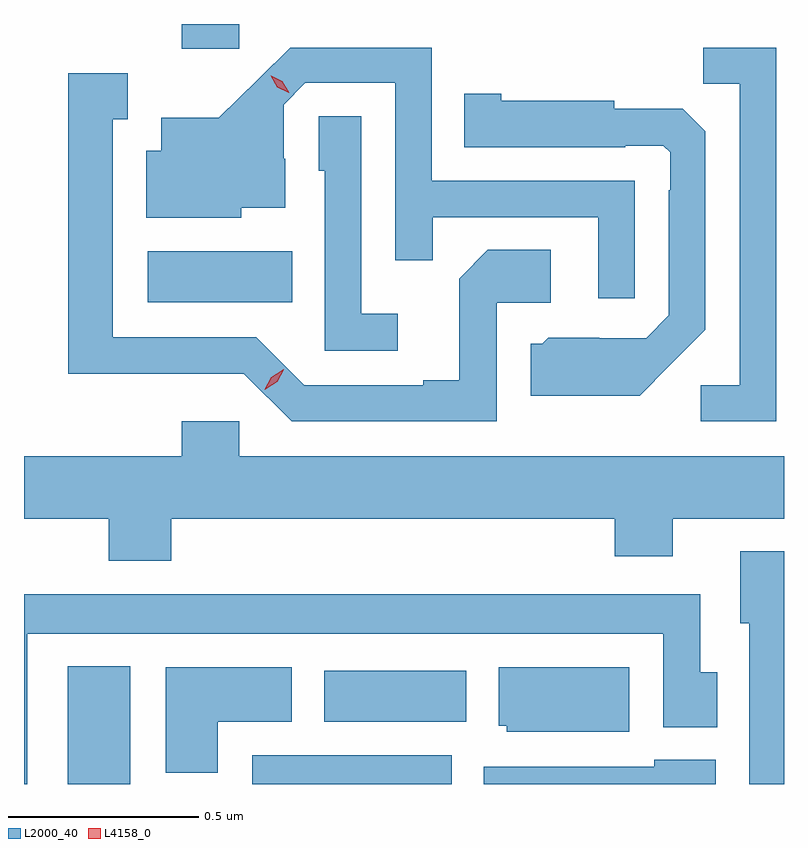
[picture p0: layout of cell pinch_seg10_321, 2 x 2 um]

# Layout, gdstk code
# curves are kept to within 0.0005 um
import gdstk
lib = gdstk.Library(unit=1e-6, precision=1e-09)
def R(c, l, rs):  # rectangles x0, y0, x1, y1
    for r in rs: c.add(gdstk.rectangle(r[:2], r[2:], *l))
def P(c, l, *ps):  # polygons
    for p in ps: c.add(gdstk.Polygon(p, *l))
L2000_40 = (2000, 40)
L4158_0 = (4158, 0)

pinch_seg10_321 = lib.new_cell('pinch_seg10_321')
R(pinch_seg10_321, L2000_40, [(414.443,1298.286,414.607,1298.596), (414.929,1298.286,415.453,1298.362), (415.118,1298.45,415.492,1298.584), (414.654,1299.554,415.034,1299.688), (414.743,1300.221,414.894,1300.286)])
P(pinch_seg10_321, L2000_40, [(415.935,1299.873),(415.401,1299.873),(415.401,1300.224),(415.028,1300.224),(414.841,1300.039),(414.689,1300.039),(414.689,1299.952),(414.65,1299.952),(414.65,1299.776),(414.9,1299.776),(414.9,1299.803),(415.015,1299.803),(415.015,1299.932),(415.011,1299.932),(415.011,1300.074),(415.068,1300.131),(415.305,1300.131),(415.305,1299.664),(415.403,1299.664),(415.403,1299.777),(415.839,1299.777),(415.839,1299.564),(415.935,1299.564)],
  [(416.307,1300.224),(416.116,1300.224),(416.116,1300.129),(416.211,1300.129),(416.211,1299.336),(416.109,1299.336),(416.109,1299.24),(416.307,1299.24)],
  [(415.572,1299.552),(415.714,1299.552),(415.714,1299.692),(415.549,1299.692),(415.473,1299.616),(415.473,1299.349),(415.379,1299.349),(415.379,1299.336),(415.065,1299.336),(414.939,1299.462),(414.562,1299.462),(414.562,1300.035),(414.601,1300.035),(414.601,1300.156),(414.444,1300.156),(414.444,1299.365),(414.684,1299.365),(414.684,1299.366),(414.906,1299.366),(415.032,1299.24),(415.572,1299.24)],
  [(416.029,1299.389),(416.121,1299.482),(416.121,1300.004),(416.062,1300.063),(415.881,1300.063),(415.881,1300.084),(415.584,1300.084),(415.584,1300.102),(415.486,1300.102),(415.486,1299.962),(415.91,1299.962),(415.91,1299.966),(416.01,1299.966),(416.028,1299.948),(416.028,1299.848),(416.025,1299.848),(416.025,1299.519),(415.965,1299.459),(415.842,1299.459),(415.842,1299.46),(415.708,1299.46),(415.692,1299.444),(415.661,1299.444),(415.661,1299.308),(415.949,1299.308)],
  [(415.312,1299.523),(415.215,1299.523),(415.215,1300.043),(415.104,1300.043),(415.104,1299.9),(415.119,1299.9),(415.119,1299.426),(415.312,1299.426)],
  [(414.716,1298.984),(415.883,1298.984),(415.883,1298.885),(416.035,1298.885),(416.035,1298.984),(416.328,1298.984),(416.328,1299.148),(414.894,1299.148),(414.894,1299.241),(414.743,1299.241),(414.743,1299.148),(414.328,1299.148),(414.328,1298.984),(414.551,1298.984),(414.551,1298.873),(414.716,1298.873)],
  [(416.328,1298.899),(416.213,1298.899),(416.213,1298.709),(416.237,1298.709),(416.237,1298.286),(416.328,1298.286)],
  [(414.337,1298.681),(416.01,1298.681),(416.01,1298.436),(416.152,1298.436),(416.152,1298.58),(416.107,1298.58),(416.107,1298.785),(414.328,1298.785),(414.328,1298.286),(414.337,1298.286)],
  [(414.838,1298.45),(415.033,1298.45),(415.033,1298.593),(414.701,1298.593),(414.701,1298.316),(414.838,1298.316)],
  [(415.921,1298.593),(415.577,1298.593),(415.577,1298.439),(415.599,1298.439),(415.599,1298.423),(415.921,1298.423)],
  [(416.149,1298.35),(415.986,1298.35),(415.986,1298.332),(415.538,1298.332),(415.538,1298.286),(416.149,1298.286)])
P(pinch_seg10_321, L4158_0, [(415.025,1300.105),(414.995,1300.12),(414.977,1300.15),(414.977,1300.15),(414.978,1300.15),(415.008,1300.135),(415.026,1300.105),(415.026,1300.105)],
  [(414.962,1299.324),(414.962,1299.325),(414.979,1299.357),(415.011,1299.377),(415.011,1299.377),(415.011,1299.376),(414.994,1299.344),(414.962,1299.324)])

lib.write_gds('pinch_seg10_321.gds')
